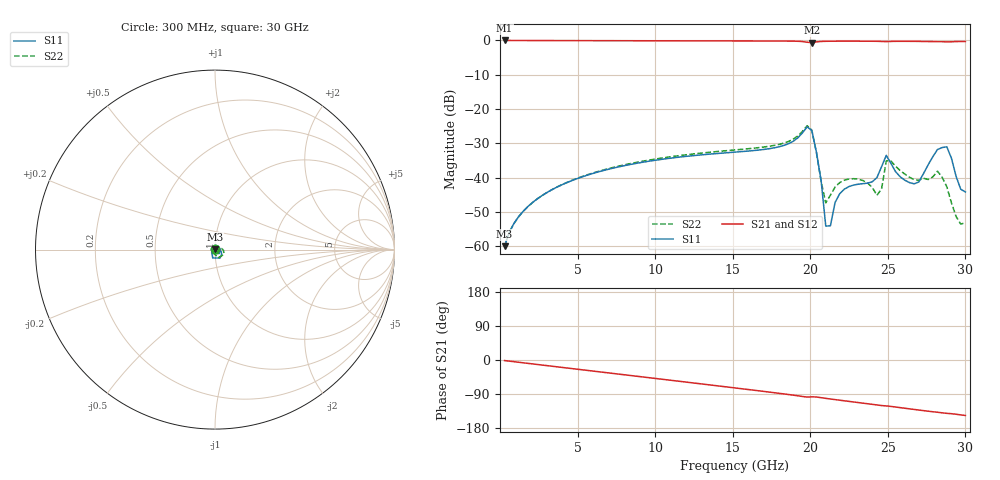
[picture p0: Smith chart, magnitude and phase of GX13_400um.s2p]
! Created Wed Apr 21 15:42:31 2021
! List of port names and net name(s): example Port n = <port_name> <net_name1> <net_name2> ...
! Port 1 = P1 P2 gnd!
! Port 2 = P2 P2 P4
# hz S ri R 50
! 2 Port Network Data from data block
! freq  reS11  imS11  reS21  imS21  reS12  imS12  reS22  imS22
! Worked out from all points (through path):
!   100 points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, 300 MHz to 30 GHz, reference 50 ohm
!   highest |S21| = -0.01 dB at 300 MHz (marker M1); lowest = -0.7 dB at 20.1 GHz (marker M2)
!   group delay of S21, straight-line fit = 13.5 ps
!   lowest |S11| = -60.0 dB at 300 MHz (marker M3), VSWR 1.00, Z = 50.1 + j0.0837 ohm
!   |S11| at or under -10 dB: start of sweep to end of sweep
!   |S22| runs from -60.0 to -24.9 dB; largest |S21 - S12| = 0
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3e8  0.000544 0.000837  0.9987 -0.0265  0.9987 -0.0265  0.000538 0.000839
1.8e9  0.00141 0.0035  0.985 -0.1536  0.985 -0.1536  0.00123 0.00355
5.4e9  0.00524 0.009  0.8899 -0.4403  0.8899 -0.4403  0.00391 0.00978
1.02e10  0.0143 0.0112  0.6409 -0.7521  0.6409 -0.7521  0.0113 0.0151
1.53e10  0.0231 0.00499  0.2635 -0.9471  0.2635 -0.9471  0.0211 0.0142
1.83e10  0.0291 -0.00395  0.00837 -0.9787  0.00837 -0.9787  0.0302 0.00979
2.01e10  -0.0126 -0.0468  -0.1153 -0.9194  -0.1153 -0.9194  0.0169 -0.0462
2.07e10  -0.00838 -0.00339  -0.1584 -0.9534  -0.1584 -0.9534  -0.000971 -0.00875
2.1e10  -0.00192 -0.000338  -0.1888 -0.9529  -0.1888 -0.9529  0.00279 -0.00323
2.13e10  0.00191 0.00052  -0.2172 -0.949  -0.2172 -0.949  0.00546 -0.000824
2.16e10  0.00427 0.000718  -0.2443 -0.9433  -0.2443 -0.9433  0.00724 0.000296
2.19e10  0.00577 0.000717  -0.2705 -0.9366  -0.2705 -0.9366  0.00839 0.000804
2.25e10  0.00735 0.000683  -0.3212 -0.9206  -0.3212 -0.9206  0.00947 0.000992
2.43e10  0.0087 0.00491  -0.4653 -0.8528  -0.4653 -0.8528  0.00517 0.00187
2.46e10  0.0119 0.0081  -0.4867 -0.8353  -0.4867 -0.8353  0.00289 0.00624
2.49e10  0.0208 0.0034  -0.498 -0.8207  -0.498 -0.8207  0.011 0.0136
2.52e10  0.0156 -0.00393  -0.5195 -0.8162  -0.5195 -0.8162  0.0166 0.00529
2.67e10  0.00789 0.00179  -0.6294 -0.7376  -0.6294 -0.7376  0.00926 -0.000691
2.82e10  0.0245 0.00739  -0.711 -0.6441  -0.711 -0.6441  0.00684 -0.0103
2.88e10  0.0258 -0.011  -0.7376 -0.6029  -0.7376 -0.6029  -0.00722 -0.00137
2.94e10  0.00652 -0.00813  -0.7703 -0.5768  -0.7703 -0.5768  0.00227 0.00146
3e10  0.00612 -0.000667  -0.805 -0.5344  -0.805 -0.5344  0.000652 -0.0021
